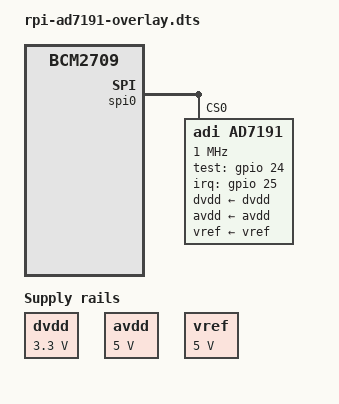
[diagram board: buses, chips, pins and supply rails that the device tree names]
// SPDX-License-Identifier: GPL-2.0
/dts-v1/;
/plugin/;

#include <dt-bindings/gpio/gpio.h>

/ {
	compatible = "brcm,bcm2835", "brcm,bcm2708", "brcm,bcm2709";

	fragment@0 {
		target-path = "/";
		__overlay__ {
			dvdd: fixedregulator@0 {
				compatible = "regulator-fixed";
				regulator-name = "fixed-supply";
				regulator-min-microvolt = <3300000>;
				regulator-max-microvolt = <3300000>;
				regulator-boot-on;
			};
		};
	};

	fragment@1 {
		target-path = "/";
		__overlay__ {
			avdd: fixedregulator@1 {
				compatible = "regulator-fixed";
				regulator-name = "fixed-supply2";
				regulator-min-microvolt = <5000000>;
				regulator-max-microvolt = <5000000>;
				regulator-boot-on;
			};
		};
	};

	fragment@2 {
		target-path = "/";
		__overlay__ {
			vref: fixedregulator@2 {
				compatible = "regulator-fixed";
				regulator-name = "fixed-supply3";
				regulator-min-microvolt = <5000000>;
				regulator-max-microvolt = <5000000>;
				regulator-boot-on;
			};
		};
	};

	fragment@3 {
		target = <&spi0>;
		__overlay__ {
			#address-cells = <1>;
			#size-cells = <0>;
			status = "okay";

			ad7191@0 {
				compatible = "adi,ad7191";
				reg = <0>;
				spi-max-frequency = <1000000>;
				spi-cpol;
				spi-cpha;
				#interrupt-cells = <2>;
				interrupts = <25 0x2>;
				interrupt-parent = <&gpio>;
				dvdd-supply = <&dvdd>;
				avdd-supply = <&avdd>;
				vref-supply = <&vref>;

				test-gpios = <&gpio 24 GPIO_ACTIVE_HIGH>;
			};
		};
	};
};
